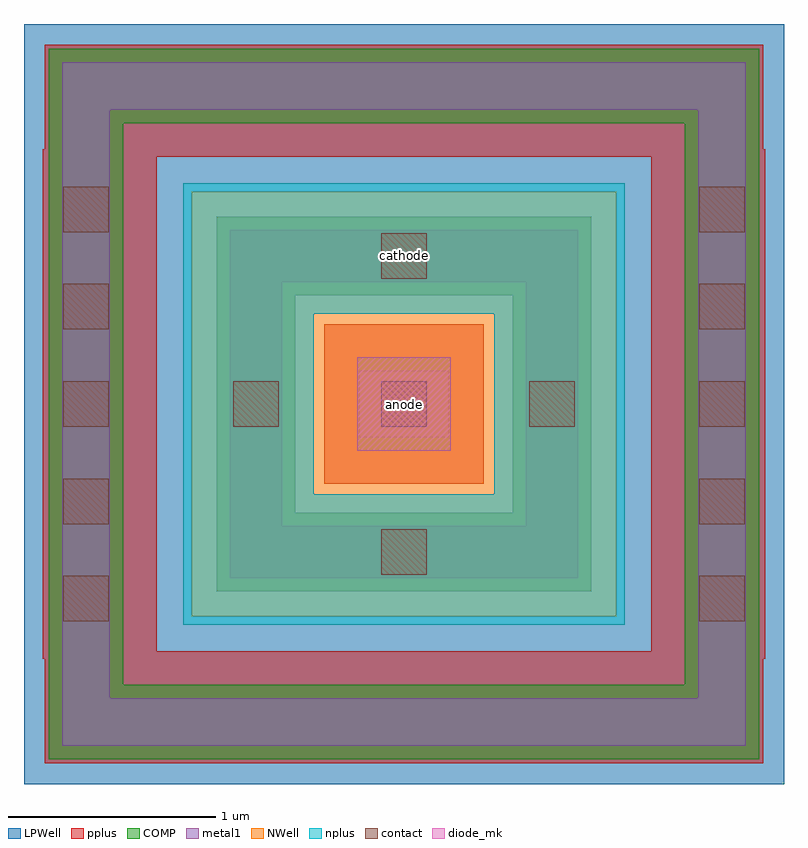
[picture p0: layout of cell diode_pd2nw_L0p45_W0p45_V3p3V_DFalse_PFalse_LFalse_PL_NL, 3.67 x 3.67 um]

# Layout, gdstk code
import gdstk
lib = gdstk.Library(unit=1e-6, precision=1e-09)
def R(c, l, rs):  # rectangles x0, y0, x1, y1
    for r in rs: c.add(gdstk.rectangle(r[:2], r[2:], *l))
NWell = (21, 0)
COMP = (22, 0)
pplus = (31, 0)
nplus = (32, 0)
contact = (33, 0)
metal1 = (34, 0)
diode_mk = (115, 5)
LPWell = (204, 0)

rectangle_gdsfactorypcom = lib.new_cell('rectangle_gdsfactorypcomponentspshapesprectangle_S0p45__e99fa449')
R(rectangle_gdsfactorypcom, COMP, [(0,0,0.45,0.45)])

c_rectangle_gdsfactorypcom = lib.new_cell('rectangle_gdsfactorypcomponentspshapesprectangle_S0p45__f3bf5ae1')
R(c_rectangle_gdsfactorypcom, diode_mk, [(0,0,0.45,0.45)])

c_rectangle_gdsfactorypcom_ = lib.new_cell('rectangle_gdsfactorypcomponentspshapesprectangle_S0p77__8c93d2d0')
R(c_rectangle_gdsfactorypcom_, pplus, [(0,0,0.77,0.77)])

c_rectangle_gdsfactorypcom__ = lib.new_cell('rectangle_gdsfactorypcomponentspshapesprectangle_S0p22__bfea7709')
R(c_rectangle_gdsfactorypcom__, contact, [(0,0,0.22,0.22)])

c_rectangle_gdsfactorypcom___ = lib.new_cell('rectangle_gdsfactorypcomponentspshapesprectangle_S0p43__e084ece7')
R(c_rectangle_gdsfactorypcom___, metal1, [(0,0,0.43,0.32)])

c_rectangle_gdsfactorypcom____ = lib.new_cell('rectangle_gdsfactorypcomponentspshapesprectangle_S1p81__c65494f4')
R(c_rectangle_gdsfactorypcom____, COMP, [(0,0,1.81,0.38)])

c_rectangle_gdsfactorypcom_____ = lib.new_cell('rectangle_gdsfactorypcomponentspshapesprectangle_S0p38__5c4cddad')
R(c_rectangle_gdsfactorypcom_____, COMP, [(0,0,0.38,1.05)])

c_rectangle_gdsfactorypcom______ = lib.new_cell('rectangle_gdsfactorypcomponentspshapesprectangle_S2p13__e44ab735')
R(c_rectangle_gdsfactorypcom______, nplus, [(0,0,2.13,0.63)])

c_rectangle_gdsfactorypcom_______ = lib.new_cell('rectangle_gdsfactorypcomponentspshapesprectangle_S0p629_fd2dbb29')
R(c_rectangle_gdsfactorypcom_______, nplus, [(0,0,0.63,0.87)])

c_rectangle_gdsfactorypcom________ = lib.new_cell('rectangle_gdsfactorypcomponentspshapesprectangle_S1p68__48ce0e7f')
R(c_rectangle_gdsfactorypcom________, metal1, [(0,0,1.68,0.25)])

c_rectangle_gdsfactorypcom_________ = lib.new_cell('rectangle_gdsfactorypcomponentspshapesprectangle_S0p25__25ee4216')
R(c_rectangle_gdsfactorypcom_________, metal1, [(0,0,0.25,1.18)])

c_rectangle_gdsfactorypcom__________ = lib.new_cell('rectangle_gdsfactorypcomponentspshapesprectangle_S2p05__e87ee188')
R(c_rectangle_gdsfactorypcom__________, NWell, [(0,0,2.05,2.05)])

c_rectangle_gdsfactorypcom___________ = lib.new_cell('rectangle_gdsfactorypcomponentspshapesprectangle_S3p43__38f6586f')
R(c_rectangle_gdsfactorypcom___________, COMP, [(0,0,3.43,0.36)])

c_rectangle_gdsfactorypcom____________ = lib.new_cell('rectangle_gdsfactorypcomponentspshapesprectangle_S0p360_6e47154c')
R(c_rectangle_gdsfactorypcom____________, COMP, [(0,0,0.36,2.71)])

c_rectangle_gdsfactorypcom_____________ = lib.new_cell('rectangle_gdsfactorypcomponentspshapesprectangle_S3p3_0_4134dc55')
R(c_rectangle_gdsfactorypcom_____________, metal1, [(0,0,3.3,0.23)])

c_rectangle_gdsfactorypcom______________ = lib.new_cell('rectangle_gdsfactorypcomponentspshapesprectangle_S0p229_77178fda')
R(c_rectangle_gdsfactorypcom______________, metal1, [(0,0,0.23,2.84)])

c_rectangle_gdsfactorypcom_______________ = lib.new_cell('rectangle_gdsfactorypcomponentspshapesprectangle_S3p67__97dedd3e')
R(c_rectangle_gdsfactorypcom_______________, LPWell, [(0,0,3.67,0.81)])

c_rectangle_gdsfactorypcom________________ = lib.new_cell('rectangle_gdsfactorypcomponentspshapesprectangle_S0p81__ab0538a5')
R(c_rectangle_gdsfactorypcom________________, LPWell, [(0,0,0.81,2.05)])

diode_pd2nw_l0p45_w0p45_ = lib.new_cell('diode_pd2nw_L0p45_W0p45_V3p3V_DFalse_PFalse_LFalse_PL_NL')
R(diode_pd2nw_l0p45_w0p45_, pplus, [(-1.735,-1.735,1.735,-1.23), (-1.745,-1.23,1.745,-1.195), (-1.745,-1.195,-1.195,1.195), (1.195,-1.195,1.745,1.195), (-1.745,1.195,1.745,1.23), (-1.735,1.23,1.735,1.735)])
diode_pd2nw_l0p45_w0p45_.add(gdstk.Reference(rectangle_gdsfactorypcom, (-0.225,-0.225)))
diode_pd2nw_l0p45_w0p45_.add(gdstk.Reference(c_rectangle_gdsfactorypcom, (-0.225,-0.225)))
diode_pd2nw_l0p45_w0p45_.add(gdstk.Reference(c_rectangle_gdsfactorypcom_, (-0.385,-0.385)))
diode_pd2nw_l0p45_w0p45_.add(gdstk.Reference(c_rectangle_gdsfactorypcom__, (-0.11,-0.11)))
diode_pd2nw_l0p45_w0p45_.add(gdstk.Reference(c_rectangle_gdsfactorypcom___, (-0.215,-0.16)))
diode_pd2nw_l0p45_w0p45_.add(gdstk.Reference(c_rectangle_gdsfactorypcom____, (-0.905,0.525)))
diode_pd2nw_l0p45_w0p45_.add(gdstk.Reference(c_rectangle_gdsfactorypcom____, (-0.905,-0.905)))
diode_pd2nw_l0p45_w0p45_.add(gdstk.Reference(c_rectangle_gdsfactorypcom_____, (-0.905,-0.525)))
diode_pd2nw_l0p45_w0p45_.add(gdstk.Reference(c_rectangle_gdsfactorypcom_____, (0.525,-0.525)))
diode_pd2nw_l0p45_w0p45_.add(gdstk.Reference(c_rectangle_gdsfactorypcom______, (-1.065,0.435)))
diode_pd2nw_l0p45_w0p45_.add(gdstk.Reference(c_rectangle_gdsfactorypcom______, (-1.065,-1.065)))
diode_pd2nw_l0p45_w0p45_.add(gdstk.Reference(c_rectangle_gdsfactorypcom_______, (-1.065,-0.435)))
diode_pd2nw_l0p45_w0p45_.add(gdstk.Reference(c_rectangle_gdsfactorypcom_______, (0.435,-0.435)))
diode_pd2nw_l0p45_w0p45_.add(gdstk.Reference(c_rectangle_gdsfactorypcom________, (-0.84,0.59)))
diode_pd2nw_l0p45_w0p45_.add(gdstk.Reference(c_rectangle_gdsfactorypcom________, (-0.84,-0.84)))
diode_pd2nw_l0p45_w0p45_.add(gdstk.Reference(c_rectangle_gdsfactorypcom_________, (-0.84,-0.59)))
diode_pd2nw_l0p45_w0p45_.add(gdstk.Reference(c_rectangle_gdsfactorypcom_________, (0.59,-0.59)))
diode_pd2nw_l0p45_w0p45_.add(gdstk.Reference(c_rectangle_gdsfactorypcom__, (-0.825,-0.11)))
diode_pd2nw_l0p45_w0p45_.add(gdstk.Reference(c_rectangle_gdsfactorypcom__, (0.605,-0.11)))
diode_pd2nw_l0p45_w0p45_.add(gdstk.Reference(c_rectangle_gdsfactorypcom__, (-0.11,0.605)))
diode_pd2nw_l0p45_w0p45_.add(gdstk.Reference(c_rectangle_gdsfactorypcom__, (-0.11,-0.825)))
diode_pd2nw_l0p45_w0p45_.add(gdstk.Reference(c_rectangle_gdsfactorypcom__________, (-1.025,-1.025)))
diode_pd2nw_l0p45_w0p45_.add(gdstk.Reference(c_rectangle_gdsfactorypcom___________, (-1.715,1.355)))
diode_pd2nw_l0p45_w0p45_.add(gdstk.Reference(c_rectangle_gdsfactorypcom___________, (-1.715,-1.715)))
diode_pd2nw_l0p45_w0p45_.add(gdstk.Reference(c_rectangle_gdsfactorypcom____________, (-1.715,-1.355)))
diode_pd2nw_l0p45_w0p45_.add(gdstk.Reference(c_rectangle_gdsfactorypcom____________, (1.355,-1.355)))
diode_pd2nw_l0p45_w0p45_.add(gdstk.Reference(c_rectangle_gdsfactorypcom_____________, (-1.65,1.42)))
diode_pd2nw_l0p45_w0p45_.add(gdstk.Reference(c_rectangle_gdsfactorypcom_____________, (-1.65,-1.65)))
diode_pd2nw_l0p45_w0p45_.add(gdstk.Reference(c_rectangle_gdsfactorypcom______________, (-1.65,-1.42)))
diode_pd2nw_l0p45_w0p45_.add(gdstk.Reference(c_rectangle_gdsfactorypcom______________, (1.42,-1.42)))
diode_pd2nw_l0p45_w0p45_.add(gdstk.Reference(c_rectangle_gdsfactorypcom__, (-1.645,-1.05)))
diode_pd2nw_l0p45_w0p45_.add(gdstk.Reference(c_rectangle_gdsfactorypcom__, (-1.645,-0.58)))
diode_pd2nw_l0p45_w0p45_.add(gdstk.Reference(c_rectangle_gdsfactorypcom__, (-1.645,-0.11)))
diode_pd2nw_l0p45_w0p45_.add(gdstk.Reference(c_rectangle_gdsfactorypcom__, (-1.645,0.36)))
diode_pd2nw_l0p45_w0p45_.add(gdstk.Reference(c_rectangle_gdsfactorypcom__, (-1.645,0.83)))
diode_pd2nw_l0p45_w0p45_.add(gdstk.Reference(c_rectangle_gdsfactorypcom__, (1.425,-1.05)))
diode_pd2nw_l0p45_w0p45_.add(gdstk.Reference(c_rectangle_gdsfactorypcom__, (1.425,-0.58)))
diode_pd2nw_l0p45_w0p45_.add(gdstk.Reference(c_rectangle_gdsfactorypcom__, (1.425,-0.11)))
diode_pd2nw_l0p45_w0p45_.add(gdstk.Reference(c_rectangle_gdsfactorypcom__, (1.425,0.36)))
diode_pd2nw_l0p45_w0p45_.add(gdstk.Reference(c_rectangle_gdsfactorypcom__, (1.425,0.83)))
diode_pd2nw_l0p45_w0p45_.add(gdstk.Reference(c_rectangle_gdsfactorypcom_______________, (-1.835,1.025)))
diode_pd2nw_l0p45_w0p45_.add(gdstk.Reference(c_rectangle_gdsfactorypcom_______________, (-1.835,-1.835)))
diode_pd2nw_l0p45_w0p45_.add(gdstk.Reference(c_rectangle_gdsfactorypcom________________, (-1.835,-1.025)))
diode_pd2nw_l0p45_w0p45_.add(gdstk.Reference(c_rectangle_gdsfactorypcom________________, (1.025,-1.025)))
diode_pd2nw_l0p45_w0p45_.add(gdstk.Label('anode', (0,0), layer=34, texttype=10))
diode_pd2nw_l0p45_w0p45_.add(gdstk.Label('cathode', (0,0.715), layer=34, texttype=10))

lib.write_gds('diode_pd2nw_L0p45_W0p45_V3p3V_DFalse_PFalse_LFalse_PL_NL.gds')
